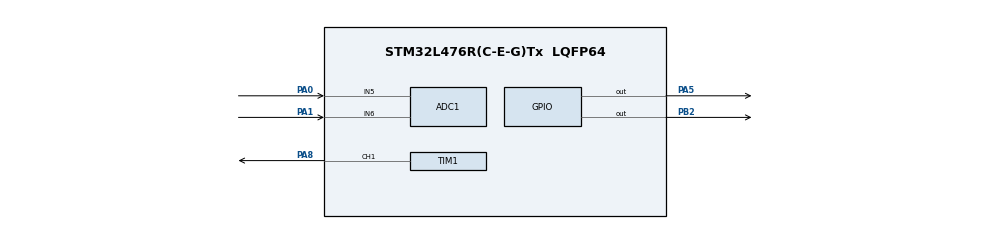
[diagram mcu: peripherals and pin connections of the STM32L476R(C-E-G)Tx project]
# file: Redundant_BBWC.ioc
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ADC1.Channel-0\#ChannelRegularConversion=ADC_CHANNEL_5
ADC1.Channel-1\#ChannelRegularConversion=ADC_CHANNEL_6
ADC1.DiscontinuousConvMode=ENABLE
ADC1.NbrOfConversion=2
ADC1.NbrOfConversionFlag=1
ADC1.OffsetNumber-0\#ChannelRegularConversion=ADC_OFFSET_NONE
ADC1.OffsetNumber-1\#ChannelRegularConversion=ADC_OFFSET_NONE
ADC1.Rank-0\#ChannelRegularConversion=1
ADC1.Rank-1\#ChannelRegularConversion=2
ADC1.SamplingTime-0\#ChannelRegularConversion=ADC_SAMPLETIME_2CYCLES_5
ADC1.SamplingTime-1\#ChannelRegularConversion=ADC_SAMPLETIME_2CYCLES_5
ADC1.master=1
ADC2.Channel-0\#ChannelRegularConversion=ADC_CHANNEL_6
ADC2.ContinuousConvMode=DISABLE
ADC2.NbrOfConversionFlag=1
ADC2.OffsetNumber-0\#ChannelRegularConversion=ADC_OFFSET_NONE
ADC2.Rank-0\#ChannelRegularConversion=1
ADC2.SamplingTime-0\#ChannelRegularConversion=ADC_SAMPLETIME_2CYCLES_5
FREERTOS.Queues01=SensorQueue,2,uint32_t,0,Dynamic,NULL,NULL
FREERTOS.Tasks01=defaultTask,24,128,StartDefaultTask,Default,NULL,Dynamic,NULL,NULL;Task_Acquisitio,48,128,Start_Task_Acquisition,Default,NULL,Dynamic,NULL,NULL;Task_SafetyVoti,40,128,Start_Task_SafetyVoting,Default,NULL,Dynamic,NULL,NULL;Task_Actuator,24,128,Start_Task_Actuator,Default,NULL,Dynamic,NULL,NULL
FREERTOS.configUSE_NEWLIB_REENTRANT=1
Mcu.Family=STM32L4
Mcu.Name=STM32L476R(C-E-G)Tx
Mcu.Package=LQFP64
NVIC.PriorityGroup=NVIC_PRIORITYGROUP_4
NVIC.TIM6_DAC_IRQn=true\:15\:0\:false\:false\:true\:false\:false\:true\:true
NVIC.TimeBase=TIM6_DAC_IRQn
NVIC.TimeBaseIP=TIM6
PA0.Signal=ADCx_IN5
PA1.Signal=ADCx_IN6
PA13\ (JTMS-SWDIO).Mode=Serial_Wire
PA13\ (JTMS-SWDIO).Signal=SYS_JTMS-SWDIO
PA14\ (JTCK-SWCLK).Mode=Serial_Wire
PA14\ (JTCK-SWCLK).Signal=SYS_JTCK-SWCLK
PA5.Signal=GPIO_Output
PA8.Signal=S_TIM1_CH1
PB2.Signal=GPIO_Output
ProjectManager.HeapSize=0x200
ProjectManager.StackSize=0x400
ProjectManager.TargetToolchain=STM32CubeIDE
RCC.ADCFreq_Value=32000000
RCC.HSE_VALUE=8000000
RCC.HSI_VALUE=16000000
RCC.LSE_VALUE=32768
RCC.MSI_VALUE=4000000
RCC.PLLSAI1N=16
RCC.USBFreq_Value=32000000
RCC.VCOOutputFreq_Value=32000000
SH.ADCx_IN5.0=ADC1_IN5,IN5-Single-Ended
SH.ADCx_IN5.1=ADC2_IN5,IN5-Single-Ended
SH.ADCx_IN6.0=ADC1_IN6,IN6-Single-Ended
SH.ADCx_IN6.1=ADC2_IN6,IN6-Single-Ended
SH.S_TIM1_CH1.0=TIM1_CH1,PWM Generation1 CH1
TIM1.Channel-PWM\ Generation1\ CH1=TIM_CHANNEL_1
TIM1.Period=1000
TIM1.Prescaler=79
VP_FREERTOS_VS_CMSIS_V2.Mode=CMSIS_V2
VP_SYS_VS_tim6.Mode=TIM6
VP_TIM1_VS_ClockSourceINT.Mode=Internal
board=custom

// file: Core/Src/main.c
/* USER CODE BEGIN Header */
/**
  ******************************************************************************
  * @file           : main.c
  * @brief          : Main program body
  ******************************************************************************
  * @attention
  *
  * Copyright (c) 2026 STMicroelectronics.
  * All rights reserved.
  *
  * This software is licensed under terms that can be found in the LICENSE file
  * in the root directory of this software component.
  * If no LICENSE file comes with this software, it is provided AS-IS.
  *
  ******************************************************************************
  */
/* USER CODE END Header */
#include "main.h"
#include "cmsis_os.h"
#include <stdlib.h>

/* USER CODE BEGIN PD */
// Define safety constants
#define ADC_TOLERANCE 204   // 5% of 4095
#define ADC_DEADBAND 50     // Mechanical zero noise floor
/* USER CODE END PD */

ADC_HandleTypeDef hadc1;
ADC_HandleTypeDef hadc2;

TIM_HandleTypeDef htim1;

/* Definitions for defaultTask */
osThreadId_t defaultTaskHandle;
const osThreadAttr_t defaultTask_attributes =
{
  .name = "defaultTask",
  .stack_size = 128 * 4,
  .priority = (osPriority_t) osPriorityNormal,
};
/* Definitions for Task_Acquisitio */
osThreadId_t Task_AcquisitioHandle;
const osThreadAttr_t Task_Acquisitio_attributes = {
  .name = "Task_Acquisitio",
  .stack_size = 128 * 4,
  .priority = (osPriority_t) osPriorityRealtime,
};
/* Definitions for Task_SafetyVoti */
osThreadId_t Task_SafetyVotiHandle;
const osThreadAttr_t Task_SafetyVoti_attributes =
{
  .name = "Task_SafetyVoti",
  .stack_size = 128 * 4,
  .priority = (osPriority_t) osPriorityHigh,
};
/* Definitions for Task_Actuator */
osThreadId_t Task_ActuatorHandle;
const osThreadAttr_t Task_Actuator_attributes =
{
  .name = "Task_Actuator",
  .stack_size = 128 * 4,
  .priority = (osPriority_t) osPriorityNormal,
};
/* Definitions for SensorQueue */
osMessageQueueId_t SensorQueueHandle;
const osMessageQueueAttr_t SensorQueue_attributes =
{
  .name = "SensorQueue"
};
/* USER CODE BEGIN PV */
#define MAX_ADC_DEVIATION 205 // ~5% of 4095 (12-bit ADC)
uint8_t SYSTEM_FAULT = 0;     // Global fault latch
/* USER CODE END PV */

void SystemClock_Config(void);
void PeriphCommonClock_Config(void);
static void MX_GPIO_Init(void);
static void MX_ADC1_Init(void);
static void MX_TIM1_Init(void);
static void MX_ADC2_Init(void);
void StartDefaultTask(void *argument);
void Start_Task_Acquisition(void *argument);
void Start_Task_SafetyVoting(void *argument);
void Start_Task_Actuator(void *argument);

int main(void)
{

  /* MCU Configuration--------------------------------------------------------*/

  /* Reset of all peripherals, Initializes the Flash interface and the Systick. */
  HAL_Init();

  /* Configure the system clock */
  SystemClock_Config();

  /* Configure the peripherals common clocks */
  PeriphCommonClock_Config();

  /* Initialize all configured peripherals */
  MX_GPIO_Init();
  MX_ADC1_Init();
  MX_TIM1_Init();
  MX_ADC2_Init();

  /* Init scheduler */
  osKernelInitialize();

  /* Create the queue(s) */
  /* creation of SensorQueue */
  SensorQueueHandle = osMessageQueueNew (2, sizeof(uint32_t), &SensorQueue_attributes);

  /* Create the thread(s) */
  /* creation of defaultTask */
  defaultTaskHandle = osThreadNew(StartDefaultTask, NULL, &defaultTask_attributes);

  /* creation of Task_Acquisitio */
  Task_AcquisitioHandle = osThreadNew(Start_Task_Acquisition, NULL, &Task_Acquisitio_attributes);

  /* creation of Task_SafetyVoti */
  Task_SafetyVotiHandle = osThreadNew(Start_Task_SafetyVoting, NULL, &Task_SafetyVoti_attributes);

  /* creation of Task_Actuator */
  Task_ActuatorHandle = osThreadNew(Start_Task_Actuator, NULL, &Task_Actuator_attributes);

  /* Start scheduler */
  osKernelStart();

  /* We should never get here as control is now taken by the scheduler */

  /* Infinite loop */
  while (1)
  {

  }
}

void SystemClock_Config(void)
{
  RCC_OscInitTypeDef RCC_OscInitStruct = {0};
  RCC_ClkInitTypeDef RCC_ClkInitStruct = {0};

  /** Configure the main internal regulator output voltage
  */
  if (HAL_PWREx_ControlVoltageScaling(PWR_REGULATOR_VOLTAGE_SCALE1) != HAL_OK)
  {
    Error_Handler();
  }

  /** Initializes the RCC Oscillators according to the specified parameters
  * in the RCC_OscInitTypeDef structure.
  */
  RCC_OscInitStruct.OscillatorType = RCC_OSCILLATORTYPE_MSI;
  RCC_OscInitStruct.MSIState = RCC_MSI_ON;
  RCC_OscInitStruct.MSICalibrationValue = 0;
  RCC_OscInitStruct.MSIClockRange = RCC_MSIRANGE_6;
  RCC_OscInitStruct.PLL.PLLState = RCC_PLL_NONE;
  if (HAL_RCC_OscConfig(&RCC_OscInitStruct) != HAL_OK)
  {
    Error_Handler();
  }

  /** Initializes the CPU, AHB and APB buses clocks
  */
  RCC_ClkInitStruct.ClockType = RCC_CLOCKTYPE_HCLK|RCC_CLOCKTYPE_SYSCLK
                              |RCC_CLOCKTYPE_PCLK1|RCC_CLOCKTYPE_PCLK2;
  RCC_ClkInitStruct.SYSCLKSource = RCC_SYSCLKSOURCE_MSI;
  RCC_ClkInitStruct.AHBCLKDivider = RCC_SYSCLK_DIV1;
  RCC_ClkInitStruct.APB1CLKDivider = RCC_HCLK_DIV1;
  RCC_ClkInitStruct.APB2CLKDivider = RCC_HCLK_DIV1;

  if (HAL_RCC_ClockConfig(&RCC_ClkInitStruct, FLASH_LATENCY_0) != HAL_OK)
  {
    Error_Handler();
  }
}

void PeriphCommonClock_Config(void)
{
  RCC_PeriphCLKInitTypeDef PeriphClkInit = {0};

  /** Initializes the peripherals clock
  */
  PeriphClkInit.PeriphClockSelection = RCC_PERIPHCLK_ADC;
  PeriphClkInit.AdcClockSelection = RCC_ADCCLKSOURCE_PLLSAI1;
  PeriphClkInit.PLLSAI1.PLLSAI1Source = RCC_PLLSOURCE_MSI;
  PeriphClkInit.PLLSAI1.PLLSAI1M = 1;
  PeriphClkInit.PLLSAI1.PLLSAI1N = 16;
  PeriphClkInit.PLLSAI1.PLLSAI1P = RCC_PLLP_DIV7;
  PeriphClkInit.PLLSAI1.PLLSAI1Q = RCC_PLLQ_DIV2;
  PeriphClkInit.PLLSAI1.PLLSAI1R = RCC_PLLR_DIV2;
  PeriphClkInit.PLLSAI1.PLLSAI1ClockOut = RCC_PLLSAI1_ADC1CLK;
  if (HAL_RCCEx_PeriphCLKConfig(&PeriphClkInit) != HAL_OK)
  {
    Error_Handler();
  }
}

static void MX_ADC1_Init(void)
{

  ADC_MultiModeTypeDef multimode = {0};
  ADC_ChannelConfTypeDef sConfig = {0};

  /** Common config
  */
  hadc1.Instance = ADC1;
  hadc1.Init.ClockPrescaler = ADC_CLOCK_ASYNC_DIV1;
  hadc1.Init.Resolution = ADC_RESOLUTION_12B;
  hadc1.Init.DataAlign = ADC_DATAALIGN_RIGHT;
  hadc1.Init.ScanConvMode = ADC_SCAN_ENABLE;
  hadc1.Init.EOCSelection = ADC_EOC_SINGLE_CONV;
  hadc1.Init.LowPowerAutoWait = DISABLE;
  hadc1.Init.ContinuousConvMode = DISABLE;
  hadc1.Init.NbrOfConversion = 1;
  hadc1.Init.DiscontinuousConvMode = ENABLE;
  hadc1.Init.NbrOfDiscConversion = 1;
  hadc1.Init.ExternalTrigConv = ADC_SOFTWARE_START;
  hadc1.Init.ExternalTrigConvEdge = ADC_EXTERNALTRIGCONVEDGE_NONE;
  hadc1.Init.DMAContinuousRequests = DISABLE;
  hadc1.Init.Overrun = ADC_OVR_DATA_PRESERVED;
  hadc1.Init.OversamplingMode = DISABLE;
  if (HAL_ADC_Init(&hadc1) != HAL_OK)
  {
    Error_Handler();
  }

  /** Configure the ADC multi-mode
  */
  multimode.Mode = ADC_MODE_INDEPENDENT;
  if (HAL_ADCEx_MultiModeConfigChannel(&hadc1, &multimode) != HAL_OK)
  {
    Error_Handler();
  }

  /** Configure Regular Channel
  */
  sConfig.Channel = ADC_CHANNEL_5;
  sConfig.Rank = ADC_REGULAR_RANK_1;
  sConfig.SamplingTime = ADC_SAMPLETIME_2CYCLES_5;
  sConfig.SingleDiff = ADC_SINGLE_ENDED;
  sConfig.OffsetNumber = ADC_OFFSET_NONE;
  sConfig.Offset = 0;
  if (HAL_ADC_ConfigChannel(&hadc1, &sConfig) != HAL_OK)
  {
    Error_Handler();
  }

}

static void MX_ADC2_Init(void)
{

  ADC_ChannelConfTypeDef sConfig = {0};

  /** Common config
  */
  hadc2.Instance = ADC2;
  hadc2.Init.ClockPrescaler = ADC_CLOCK_ASYNC_DIV1;
  hadc2.Init.Resolution = ADC_RESOLUTION_12B;
  hadc2.Init.DataAlign = ADC_DATAALIGN_RIGHT;
  hadc2.Init.ScanConvMode = ADC_SCAN_DISABLE;
  hadc2.Init.EOCSelection = ADC_EOC_SINGLE_CONV;
  hadc2.Init.LowPowerAutoWait = DISABLE;
  hadc2.Init.ContinuousConvMode = DISABLE;
  hadc2.Init.NbrOfConversion = 1;
  hadc2.Init.DiscontinuousConvMode = DISABLE;
  hadc2.Init.ExternalTrigConv = ADC_SOFTWARE_START;
  hadc2.Init.ExternalTrigConvEdge = ADC_EXTERNALTRIGCONVEDGE_NONE;
  hadc2.Init.DMAContinuousRequests = DISABLE;
  hadc2.Init.Overrun = ADC_OVR_DATA_PRESERVED;
  hadc2.Init.OversamplingMode = DISABLE;
  if (HAL_ADC_Init(&hadc2) != HAL_OK)
  {
    Error_Handler();
  }

  /** Configure Regular Channel
  */
  sConfig.Channel = ADC_CHANNEL_6;
  sConfig.Rank = ADC_REGULAR_RANK_1;
  sConfig.SamplingTime = ADC_SAMPLETIME_2CYCLES_5;
  sConfig.SingleDiff = ADC_SINGLE_ENDED;
  sConfig.OffsetNumber = ADC_OFFSET_NONE;
  sConfig.Offset = 0;
  if (HAL_ADC_ConfigChannel(&hadc2, &sConfig) != HAL_OK)
  {
    Error_Handler();
  }

}

static void MX_TIM1_Init(void)
{

  TIM_ClockConfigTypeDef sClockSourceConfig = {0};
  TIM_MasterConfigTypeDef sMasterConfig = {0};
  TIM_OC_InitTypeDef sConfigOC = {0};
  TIM_BreakDeadTimeConfigTypeDef sBreakDeadTimeConfig = {0};

  htim1.Instance = TIM1;
  htim1.Init.Prescaler = 79;
  htim1.Init.CounterMode = TIM_COUNTERMODE_UP;
  htim1.Init.Period = 1000;
  htim1.Init.ClockDivision = TIM_CLOCKDIVISION_DIV1;
  htim1.Init.RepetitionCounter = 0;
  htim1.Init.AutoReloadPreload = TIM_AUTORELOAD_PRELOAD_DISABLE;
  if (HAL_TIM_Base_Init(&htim1) != HAL_OK)
  {
    Error_Handler();
  }
  sClockSourceConfig.ClockSource = TIM_CLOCKSOURCE_INTERNAL;
  if (HAL_TIM_ConfigClockSource(&htim1, &sClockSourceConfig) != HAL_OK)
  {
    Error_Handler();
  }
  if (HAL_TIM_PWM_Init(&htim1) != HAL_OK)
  {
    Error_Handler();
  }
  sMasterConfig.MasterOutputTrigger = TIM_TRGO_RESET;
  sMasterConfig.MasterOutputTrigger2 = TIM_TRGO2_RESET;
  sMasterConfig.MasterSlaveMode = TIM_MASTERSLAVEMODE_DISABLE;
  if (HAL_TIMEx_MasterConfigSynchronization(&htim1, &sMasterConfig) != HAL_OK)
  {
    Error_Handler();
  }
  sConfigOC.OCMode = TIM_OCMODE_PWM1;
  sConfigOC.Pulse = 0;
  sConfigOC.OCPolarity = TIM_OCPOLARITY_HIGH;
  sConfigOC.OCNPolarity = TIM_OCNPOLARITY_HIGH;
  sConfigOC.OCFastMode = TIM_OCFAST_DISABLE;
  sConfigOC.OCIdleState = TIM_OCIDLESTATE_RESET;
  sConfigOC.OCNIdleState = TIM_OCNIDLESTATE_RESET;
  if (HAL_TIM_PWM_ConfigChannel(&htim1, &sConfigOC, TIM_CHANNEL_1) != HAL_OK)
  {
    Error_Handler();
  }
  sBreakDeadTimeConfig.OffStateRunMode = TIM_OSSR_DISABLE;
  sBreakDeadTimeConfig.OffStateIDLEMode = TIM_OSSI_DISABLE;
  sBreakDeadTimeConfig.LockLevel = TIM_LOCKLEVEL_OFF;
  sBreakDeadTimeConfig.DeadTime = 0;
  sBreakDeadTimeConfig.BreakState = TIM_BREAK_DISABLE;
  sBreakDeadTimeConfig.BreakPolarity = TIM_BREAKPOLARITY_HIGH;
  sBreakDeadTimeConfig.BreakFilter = 0;
  sBreakDeadTimeConfig.Break2State = TIM_BREAK2_DISABLE;
  sBreakDeadTimeConfig.Break2Polarity = TIM_BREAK2POLARITY_HIGH;
  sBreakDeadTimeConfig.Break2Filter = 0;
  sBreakDeadTimeConfig.AutomaticOutput = TIM_AUTOMATICOUTPUT_DISABLE;
  if (HAL_TIMEx_ConfigBreakDeadTime(&htim1, &sBreakDeadTimeConfig) != HAL_OK)
  {
    Error_Handler();
  }
  HAL_TIM_MspPostInit(&htim1);

}

static void MX_GPIO_Init(void)
{
  GPIO_InitTypeDef GPIO_InitStruct = {0};

  /* GPIO Ports Clock Enable */
  __HAL_RCC_GPIOA_CLK_ENABLE();
  __HAL_RCC_GPIOB_CLK_ENABLE();

  /*Configure GPIO pin Output Level */
  HAL_GPIO_WritePin(GPIOA, GPIO_PIN_5, GPIO_PIN_RESET);

  /*Configure GPIO pin Output Level */
  HAL_GPIO_WritePin(GPIOB, GPIO_PIN_2, GPIO_PIN_RESET);

  /*Configure GPIO pin : PA5 */
  GPIO_InitStruct.Pin = GPIO_PIN_5;
  GPIO_InitStruct.Mode = GPIO_MODE_OUTPUT_PP;
  GPIO_InitStruct.Pull = GPIO_NOPULL;
  GPIO_InitStruct.Speed = GPIO_SPEED_FREQ_LOW;
  HAL_GPIO_Init(GPIOA, &GPIO_InitStruct);

  /*Configure GPIO pin : PB2 */
  GPIO_InitStruct.Pin = GPIO_PIN_2;
  GPIO_InitStruct.Mode = GPIO_MODE_OUTPUT_PP;
  GPIO_InitStruct.Pull = GPIO_NOPULL;
  GPIO_InitStruct.Speed = GPIO_SPEED_FREQ_LOW;
  HAL_GPIO_Init(GPIOB, &GPIO_InitStruct);

}

/* USER CODE BEGIN 4 */
//void HAL_TIM_PWM_MspInit(TIM_HandleTypeDef* htim_pwm)
//{
//    HAL_TIM_PWM_Start(&htim1, TIM_CHANNEL_1);
//}
/* USER CODE END 4 */

void StartDefaultTask(void *argument)
{
  for(;;)
  {
    osDelay(1);
  }
}

/* Task 1: Hard Real-Time Sensor Polling (Realtime Priority) */
void Start_Task_Acquisition(void *argument)
{
  for(;;)
  {
    osDelay(1000); // Suspended: Safety task handles data acquisition now
  }
}

void Start_Task_SafetyVoting(void *argument)
{
  /* USER CODE BEGIN Start_Task_SafetyVoting */
  uint16_t adc_sensor_A = 0;
  uint16_t adc_sensor_B = 0;
  uint16_t final_brake_value = 0;

  // Start the PWM Timer native hardware before entering the loop
  HAL_TIM_PWM_Start(&htim1, TIM_CHANNEL_1);

  /* Infinite loop */
  for(;;)
  {
    // 1. Standard Polling Data Acquisition for Sensor A
    HAL_ADC_Start(&hadc1);
    if (HAL_ADC_PollForConversion(&hadc1, 10) == HAL_OK)
    {
        adc_sensor_A = HAL_ADC_GetValue(&hadc1);
    }

    // 2. Standard Polling Data Acquisition for Sensor B
    HAL_ADC_Start(&hadc2);
    if (HAL_ADC_PollForConversion(&hadc2, 10) == HAL_OK)
    {
        adc_sensor_B = HAL_ADC_GetValue(&hadc2);
    }

    // 3. Deadband Check
    if (adc_sensor_A < ADC_DEADBAND && adc_sensor_B < ADC_DEADBAND)
    {
        final_brake_value = 0;
        HAL_GPIO_WritePin(GPIOA, GPIO_PIN_5, GPIO_PIN_SET);   // Green ON
        HAL_GPIO_WritePin(GPIOB, GPIO_PIN_2, GPIO_PIN_RESET); // Red OFF
    }
    // 4. Absolute Difference Check
    else if (abs(adc_sensor_A - adc_sensor_B) > ADC_TOLERANCE)
    {
        final_brake_value = 0; // Force zero output in Safe State
        HAL_GPIO_WritePin(GPIOB, GPIO_PIN_2, GPIO_PIN_SET);   // Red ON (Safe State)
        HAL_GPIO_WritePin(GPIOA, GPIO_PIN_5, GPIO_PIN_RESET); // Green OFF
    }
    // 5. Normal Operation
    else
    {
        final_brake_value = (adc_sensor_A + adc_sensor_B) / 2;
        HAL_GPIO_WritePin(GPIOA, GPIO_PIN_5, GPIO_PIN_SET);   // Green ON
        HAL_GPIO_WritePin(GPIOB, GPIO_PIN_2, GPIO_PIN_RESET); // Red OFF
    }

    // Map the validated 12-bit ADC (0-4095) to the 10-bit PWM (0-1000) for the Blue LED
    uint32_t pwm_duty = (final_brake_value * 1000) / 4095;
    __HAL_TIM_SET_COMPARE(&htim1, TIM_CHANNEL_1, pwm_duty);

    osDelay(10);
  }
  /* USER CODE END Start_Task_SafetyVoting */
}
void Start_Task_Actuator(void *argument)
{
  for(;;)
  {
    // Wait indefinitely for a verified value from the Safety Task
    uint32_t valid_demand = osThreadFlagsWait(0x0FFF, osFlagsWaitAny, osWaitForever);

    // Map 12-bit ADC (0-4095) to 10-bit PWM (0-1000)
    uint32_t pwm_duty = (valid_demand * 1000) / 4095;

    __HAL_TIM_SET_COMPARE(&htim1, TIM_CHANNEL_1, pwm_duty);
  }
}
void HAL_TIM_PeriodElapsedCallback(TIM_HandleTypeDef *htim)
{
  if (htim->Instance == TIM6)
  {
    HAL_IncTick();
  }
}

void Error_Handler(void)
{
  __disable_irq();
  while (1)
  {
  }
}
